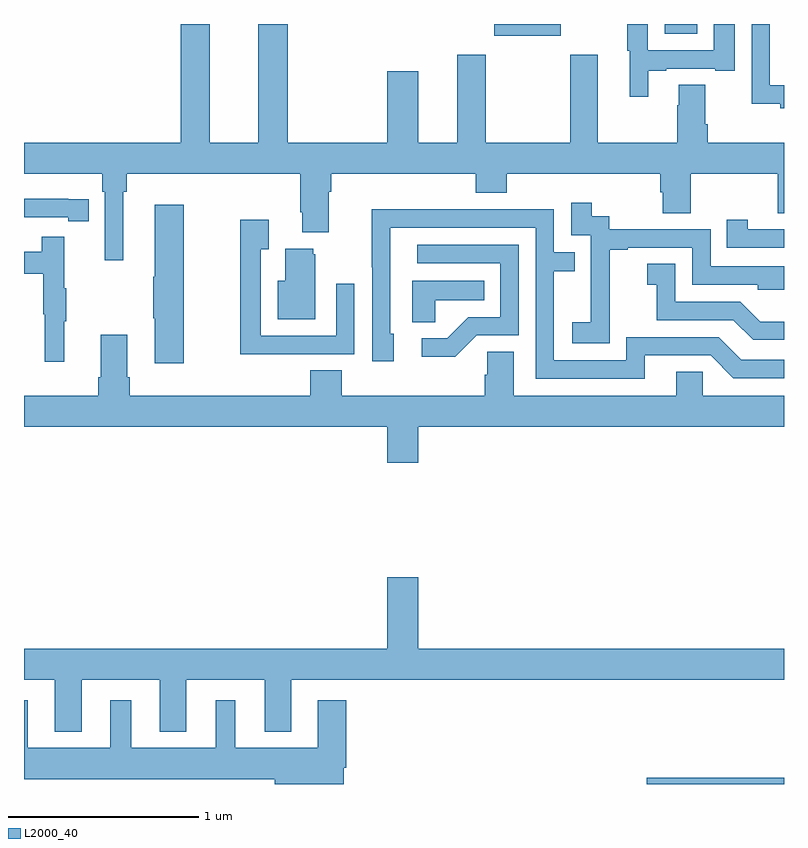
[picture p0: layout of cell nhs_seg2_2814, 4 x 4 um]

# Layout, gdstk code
import gdstk
lib = gdstk.Library(unit=1e-6, precision=1e-09)
def R(c, l, rs):  # rectangles x0, y0, x1, y1
    for r in rs: c.add(gdstk.rectangle(r[:2], r[2:], *l))
def P(c, l, *ps):  # polygons
    for p in ps: c.add(gdstk.Polygon(p, *l))
L2000_40 = (2000, 40)

nhs_seg2_2814 = lib.new_cell('nhs_seg2_2814')
R(nhs_seg2_2814, L2000_40, [(262.277,601.8,263,601.832), (261.476,605.738,261.826,605.8), (262.373,605.75,262.543,605.8)])
P(nhs_seg2_2814, L2000_40, [(263,605.478),(262.926,605.478),(262.926,605.8),(262.83,605.8),(262.83,605.381),(262.98,605.381),(262.98,605.357),(263,605.357)],
  [(260.387,605.8),(260.234,605.8),(260.234,605.176),(259.978,605.176),(259.978,605.8),(259.826,605.8),(259.826,605.176),(259,605.176),(259,605.012),(259.412,605.012),(259.412,604.916),(259.425,604.916),(259.425,604.557),(259.522,604.557),(259.522,604.916),(259.541,604.916),(259.541,605.012),(260.453,605.012),(260.453,604.81),(260.465,604.81),(260.465,604.703),(260.605,604.703),(260.605,604.916),(260.618,604.916),(260.618,605.012),(261.377,605.012),(261.377,604.913),(261.541,604.913),(261.541,605.012),(262.349,605.012),(262.349,604.914),(262.361,604.914),(262.361,604.804),(262.509,604.804),(262.509,605.012),(262.966,605.012),(262.966,604.804),(263,604.804),(263,605.176),(262.598,605.176),(262.598,605.272),(262.585,605.272),(262.585,605.48),(262.445,605.48),(262.445,605.372),(262.438,605.372),(262.438,605.176),(262.021,605.176),(262.021,605.638),(261.874,605.638),(261.874,605.176),(261.429,605.176),(261.429,605.638),(261.281,605.638),(261.281,605.176),(261.076,605.176),(261.076,605.551),(260.912,605.551),(260.912,605.176),(260.387,605.176)],
  [(262.285,605.553),(262.381,605.553),(262.381,605.565),(262.637,605.565),(262.637,605.553),(262.741,605.553),(262.741,605.8),(262.631,605.8),(262.631,605.661),(262.284,605.661),(262.284,605.8),(262.176,605.8),(262.176,605.658),(262.187,605.658),(262.187,605.418),(262.285,605.418)],
  [(259.34,604.878),(259.232,604.878),(259.232,604.879),(259,604.879),(259,604.782),(259.232,604.782),(259.232,604.762),(259.34,604.762)],
  [(262.083,604.327),(262.082,604.327),(262.082,604.611),(262.177,604.611),(262.177,604.623),(262.518,604.623),(262.518,604.428),(262.863,604.428),(262.863,604.401),(263,604.401),(263,604.524),(262.614,604.524),(262.614,604.719),(262.08,604.719),(262.08,604.788),(261.988,604.788),(261.988,604.858),(261.879,604.858),(261.879,604.689),(261.984,604.689),(261.984,604.46),(261.983,604.46),(261.983,604.231),(261.885,604.231),(261.885,604.121),(262.083,604.121)],
  [(259.842,604.849),(259.688,604.849),(259.688,604.469),(259.681,604.469),(259.681,604.252),(259.688,604.252),(259.688,604.014),(259.842,604.014)],
  [(262.267,604.056),(262.614,604.056),(262.734,603.936),(263,603.936),(263,604.032),(262.776,604.032),(262.656,604.152),(262.17,604.152),(262.17,604.029),(261.789,604.029),(261.789,604.498),(261.899,604.498),(261.899,604.599),(261.789,604.599),(261.789,604.824),(261.293,604.824),(261.293,604.826),(260.83,604.826),(260.83,604.519),(260.832,604.519),(260.832,604.026),(260.947,604.026),(260.947,604.17),(260.928,604.17),(260.928,604.728),(261.693,604.728),(261.693,603.933),(262.267,603.933)],
  [(260.423,604.062),(260.739,604.062),(260.739,604.432),(260.643,604.432),(260.643,604.158),(260.247,604.158),(260.247,604.615),(260.287,604.615),(260.287,604.771),(260.139,604.771),(260.139,604.061),(260.423,604.061)],
  [(263,604.719),(262.81,604.719),(262.81,604.771),(262.699,604.771),(262.699,604.623),(263,604.623)],
  [(259.211,604.235),(259.222,604.235),(259.222,604.409),(259.211,604.409),(259.211,604.681),(259.093,604.681),(259.093,604.602),(259,604.602),(259,604.486),(259.101,604.486),(259.101,604.272),(259.108,604.272),(259.108,604.023),(259.211,604.023)],
  [(261.384,604.161),(261.603,604.161),(261.603,604.638),(261.069,604.638),(261.069,604.542),(261.507,604.542),(261.507,604.257),(261.338,604.257),(261.227,604.146),(261.093,604.146),(261.093,604.049),(261.271,604.049)],
  [(260.533,604.587),(260.522,604.587),(260.522,604.618),(260.375,604.618),(260.375,604.45),(260.336,604.45),(260.336,604.247),(260.533,604.247)],
  [(263,604.234),(262.874,604.234),(262.77,604.338),(262.428,604.338),(262.428,604.537),(262.281,604.537),(262.281,604.427),(262.33,604.427),(262.33,604.242),(262.733,604.242),(262.838,604.137),(263,604.137)],
  [(261.165,604.346),(261.422,604.346),(261.422,604.45),(261.044,604.45),(261.044,604.231),(261.165,604.231)],
  [(261.076,603.68),(263,603.68),(263,603.844),(262.572,603.844),(262.572,603.971),(262.433,603.971),(262.433,603.844),(261.577,603.844),(261.577,604.076),(261.438,604.076),(261.438,603.953),(261.425,603.953),(261.425,603.844),(260.672,603.844),(260.672,603.977),(260.507,603.977),(260.507,603.844),(259.556,603.844),(259.556,603.94),(259.543,603.94),(259.543,604.165),(259.403,604.165),(259.403,603.94),(259.391,603.94),(259.391,603.844),(259,603.844),(259,603.68),(260.912,603.68),(260.912,603.492),(261.076,603.492)],
  [(259.303,602.348),(259.715,602.348),(259.715,602.075),(259.855,602.075),(259.855,602.348),(260.267,602.348),(260.267,602.075),(260.407,602.075),(260.407,602.348),(263,602.348),(263,602.512),(261.076,602.512),(261.076,602.887),(260.912,602.887),(260.912,602.512),(259,602.512),(259,602.348),(259.163,602.348),(259.163,602.075),(259.303,602.075)],
  [(260.683,601.886),(260.696,601.886),(260.696,602.242),(260.546,602.242),(260.546,601.99),(260.113,601.99),(260.113,602.242),(260.009,602.242),(260.009,601.99),(259.564,601.99),(259.564,602.242),(259.454,602.242),(259.454,601.99),(259.021,601.99),(259.021,602.242),(259,602.242),(259,601.826),(260.321,601.826),(260.321,601.8),(260.683,601.8)])

lib.write_gds('nhs_seg2_2814.gds')
